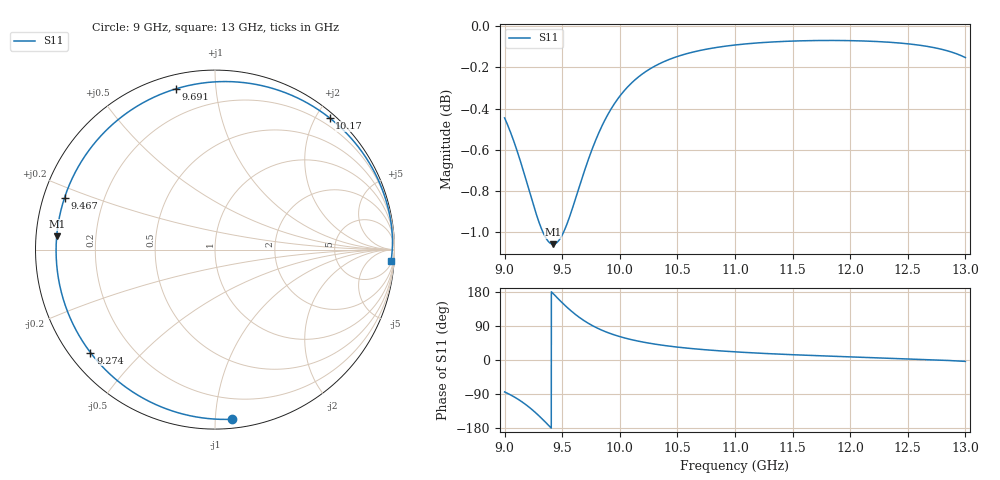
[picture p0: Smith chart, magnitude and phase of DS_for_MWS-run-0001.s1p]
! TOUCHSTONE file generated by CST DESIGN STUDIO
! Date and time: Wed Feb  5 13:39:04 2025
! Project name: C:\Work\MatlabApps\UnitCellOptimizationMatlab\CST\unitcell.cst
! Tree item: Tasks\Sweep1\SPara1\S-Parameters
! Header version: 2024
! Port assignment regex: !\s*Touchstone port\s*([0-9]+)\s*=\s*(CST MWS port|CST DES external port|CST DES block port)\s*(.+)\s* \(\"(.*)\"\)(\s*mode\s*([0-9]+))?.*
! Touchstone port assignment:
! Touchstone port 1 = CST DES external port 1 ("")
# GHz S MA R 50
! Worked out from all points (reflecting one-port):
!   4001 points, 9 GHz to 13 GHz, reference 50 ohm
!   lowest |S11| = -1.1 dB at 9.421 GHz (marker M1), VSWR 16.42, Z = 3.05 + j2.06 ohm
!   phase of S11 starts at -84 deg and turns -279 deg over the sweep
!   S11 on the Smith chart (normalised r, x): 9 GHz: 0.06, -1.10; 9.274 GHz: 0.06, -0.36; 9.467 GHz: 0.06, +0.17; 9.691 GHz: 0.07, +0.79; 10.17 GHz: 0.08, +2.19; 13 GHz: 8, -29
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9  0.95 -84.3
9.081  0.9375 -97.0
9.15  0.9248 -110.3
9.213  0.9122 -124.6
9.274  0.9004 -140.4
9.314  0.8937 -151.8
9.351  0.889 -162.9
9.386  0.8862 -173.8
9.421  0.8852 175.3
9.467  0.8868 161.0
9.5  0.8898 151.1
9.548  0.8963 137.4
9.594  0.9041 125.3
9.641  0.9127 114.1
9.691  0.9219 103.6
9.76  0.9336 91.1
9.841  0.9452 79.1
9.918  0.9542 69.8
10  0.9617 61.7
10.173  0.9726 49.0
10.322  0.9786 41.1
10.5  0.9833 34.0
10.723  0.9869 27.5
11  0.9896 21.5
11.5  0.9918 14.0
12  0.992 8.3
12.5  0.9903 3.1
13  0.9827 -3.7
